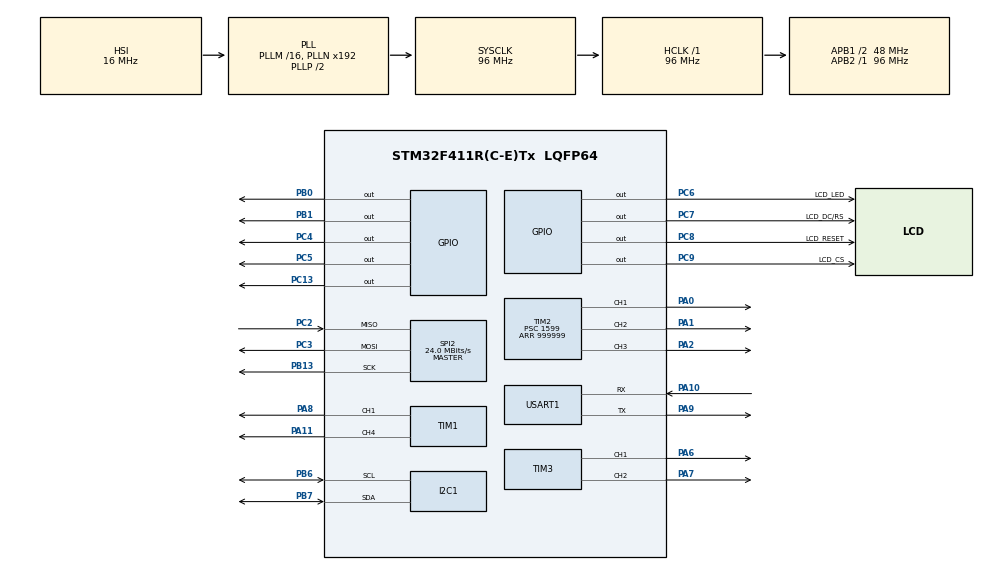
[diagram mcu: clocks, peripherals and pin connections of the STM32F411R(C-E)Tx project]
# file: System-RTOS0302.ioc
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FREERTOS.Mutexes01=myMutexLCD,Dynamic,NULL
FREERTOS.Tasks01=Task1,0,128,StartTask1,Default,NULL,Dynamic,NULL,NULL;Task02,0,128,StartTask02,Default,NULL,Dynamic,NULL,NULL;Task03,0,128,StartTask03,Default,NULL,Dynamic,NULL,NULL;Task04,0,128,StartTask04,Default,NULL,Dynamic,NULL,NULL;Task05,0,128,StartTask05,Default,NULL,Dynamic,NULL,NULL;Task06,-3,128,StartTask06,Default,NULL,Dynamic,NULL,NULL
Mcu.Family=STM32F4
Mcu.Name=STM32F411R(C-E)Tx
Mcu.Package=LQFP64
NVIC.I2C1_ER_IRQn=true\:5\:0\:false\:false\:true\:true\:true\:true
NVIC.I2C1_EV_IRQn=true\:5\:0\:false\:false\:true\:true\:true\:true
NVIC.PriorityGroup=NVIC_PRIORITYGROUP_4
NVIC.SPI2_IRQn=true\:5\:0\:false\:false\:true\:true\:true\:true
NVIC.TIM2_IRQn=true\:5\:0\:false\:false\:true\:true\:true\:true
NVIC.TIM3_IRQn=true\:5\:0\:false\:false\:true\:true\:true\:true
NVIC.TIM4_IRQn=true\:0\:0\:false\:false\:true\:false\:false\:true
NVIC.TimeBase=TIM4_IRQn
NVIC.TimeBaseIP=TIM4
NVIC.USART1_IRQn=true\:5\:0\:false\:false\:true\:true\:true\:true
PA0-WKUP.Signal=S_TIM2_CH1_ETR
PA1.Signal=S_TIM2_CH2
PA10.Mode=Asynchronous
PA10.Signal=USART1_RX
PA11.Signal=S_TIM1_CH4
PA2.Signal=S_TIM2_CH3
PA6.Signal=S_TIM3_CH1
PA7.Signal=S_TIM3_CH2
PA8.Signal=S_TIM1_CH1
PA9.Mode=Asynchronous
PA9.Signal=USART1_TX
PB0.Signal=GPIO_Output
PB1.Signal=GPIO_Output
PB13.Mode=Full_Duplex_Master
PB13.Signal=SPI2_SCK
PB6.Mode=I2C
PB6.Signal=I2C1_SCL
PB7.Mode=I2C
PB7.Signal=I2C1_SDA
PC13-ANTI_TAMP.Signal=GPIO_Output
PC2.Mode=Full_Duplex_Master
PC2.Signal=SPI2_MISO
PC3.Mode=Full_Duplex_Master
PC3.Signal=SPI2_MOSI
PC4.Signal=GPIO_Output
PC5.Signal=GPIO_Output
PC6.GPIO_Label=LCD_LED
PC6.GPIO_ModeDefaultOutputPP=GPIO_MODE_OUTPUT_PP
PC6.GPIO_PuPd=GPIO_NOPULL
PC6.GPIO_Speed=GPIO_SPEED_FREQ_LOW
PC6.PinState=GPIO_PIN_SET
PC6.Signal=GPIO_Output
PC7.GPIO_Label=LCD_DC/RS
PC7.GPIO_ModeDefaultOutputPP=GPIO_MODE_OUTPUT_PP
PC7.GPIO_PuPd=GPIO_NOPULL
PC7.GPIO_Speed=GPIO_SPEED_FREQ_LOW
PC7.PinState=GPIO_PIN_SET
PC7.Signal=GPIO_Output
PC8.GPIO_Label=LCD_RESET
PC8.GPIO_ModeDefaultOutputPP=GPIO_MODE_OUTPUT_PP
PC8.GPIO_PuPd=GPIO_NOPULL
PC8.GPIO_Speed=GPIO_SPEED_FREQ_LOW
PC8.PinState=GPIO_PIN_SET
PC8.Signal=GPIO_Output
PC9.GPIO_Label=LCD_CS
PC9.GPIO_ModeDefaultOutputPP=GPIO_MODE_OUTPUT_PP
PC9.GPIO_PuPd=GPIO_NOPULL
PC9.GPIO_Speed=GPIO_SPEED_FREQ_LOW
PC9.PinState=GPIO_PIN_SET
PC9.Signal=GPIO_Output
PH0\ -\ OSC_IN.Mode=HSE-External-Oscillator
PH0\ -\ OSC_IN.Signal=RCC_OSC_IN
PH1\ -\ OSC_OUT.Mode=HSE-External-Oscillator
PH1\ -\ OSC_OUT.Signal=RCC_OSC_OUT
ProjectManager.HeapSize=0x200
ProjectManager.StackSize=0x400
ProjectManager.TargetToolchain=STM32CubeIDE
RCC.AHBFreq_Value=96000000
RCC.APB1CLKDivider=RCC_HCLK_DIV2
RCC.APB1Freq_Value=48000000
RCC.APB1TimFreq_Value=96000000
RCC.APB2Freq_Value=96000000
RCC.APB2TimFreq_Value=96000000
RCC.CortexFreq_Value=96000000
RCC.HCLKFreq_Value=96000000
RCC.HSE_VALUE=25000000
RCC.HSI_VALUE=16000000
RCC.LSE_VALUE=32768
RCC.SYSCLKFreq_VALUE=96000000
RCC.SYSCLKSource=RCC_SYSCLKSOURCE_PLLCLK
RCC.VCOOutputFreq_Value=192000000
SH.S_TIM1_CH1.0=TIM1_CH1,PWM Generation1 CH1
SH.S_TIM1_CH4.0=TIM1_CH4,PWM Generation4 CH4
SH.S_TIM2_CH1_ETR.0=TIM2_CH1,PWM Generation1 CH1
SH.S_TIM2_CH2.0=TIM2_CH2,PWM Generation2 CH2
SH.S_TIM2_CH3.0=TIM2_CH3,PWM Generation3 CH3
SH.S_TIM3_CH1.0=TIM3_CH1,PWM Generation1 CH1
SH.S_TIM3_CH2.0=TIM3_CH2,PWM Generation2 CH2
SPI2.BaudRatePrescaler=SPI_BAUDRATEPRESCALER_2
SPI2.CalculateBaudRate=24.0 MBits/s
SPI2.Direction=SPI_DIRECTION_2LINES
SPI2.Mode=SPI_MODE_MASTER
SPI2.VirtualType=VM_MASTER
TIM1.Channel-PWM\ Generation1\ CH1=TIM_CHANNEL_1
TIM1.Channel-PWM\ Generation4\ CH4=TIM_CHANNEL_4
TIM2.Channel-PWM\ Generation1\ CH1=TIM_CHANNEL_1
TIM2.Channel-PWM\ Generation2\ CH2=TIM_CHANNEL_2
TIM2.Channel-PWM\ Generation3\ CH3=TIM_CHANNEL_3
TIM2.Period=999999
TIM2.Prescaler=1599
TIM3.Channel-PWM\ Generation1\ CH1=TIM_CHANNEL_1
TIM3.Channel-PWM\ Generation2\ CH2=TIM_CHANNEL_2
USART1.VirtualMode=VM_ASYNC
VP_FREERTOS_VS_CMSIS_V1.Mode=CMSIS_V1
VP_SYS_VS_tim4.Mode=TIM4
VP_TIM2_VS_ClockSourceINT.Mode=Internal
board=custom

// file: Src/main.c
/* USER CODE BEGIN Header */
/**
  ******************************************************************************
  * @file           : main.c
  * @brief          : Main program body
  ******************************************************************************
  * @attention
  *
  * <h2><center>&copy; Copyright (c) 2020 STMicroelectronics.
  * All rights reserved.</center></h2>
  *
  * This software component is licensed by ST under Ultimate Liberty license
  * SLA0044, the "License"; You may not use this file except in compliance with
  * the License. You may obtain a copy of the License at:
  *                             www.st.com/SLA0044
  *
  ******************************************************************************
  */
/* USER CODE END Header */

#include "main.h"
#include "cmsis_os.h"
// #include sensor
#include "stdio.h"
#include "stdlib.h"
#include "stdbool.h"
#include "sps30.h"
#include "svm30.h"
#include "math.h"
// #include LCD
#include"string.h"
#include "stm32f4xx_hal.h"
#include "tft_spi.h"
#include "myimage.h"

I2C_HandleTypeDef hi2c1;

SPI_HandleTypeDef hspi2;

TIM_HandleTypeDef htim1;
TIM_HandleTypeDef htim2;
TIM_HandleTypeDef htim3;

UART_HandleTypeDef huart1;

osThreadId Task1Handle;
osThreadId Task02Handle;
osThreadId Task03Handle;
osThreadId Task04Handle;
osThreadId Task05Handle;
osThreadId Task06Handle;
osMutexId myMutexLCDHandle;
/* USER CODE BEGIN PV */

extern uint16_t BACK_COLOR, POINT_COLOR;

void chuyendoi(void);
void FrameUART(void);
void Convertvalue(void);
void CheckUART(void);
void CheckFLAG(void);
void IAQcolor(void);
void IAQform(void);
void FormInterface(void);

char buffer[20],buffer1[20],buffer2[20],buffer3[20],buffer4[20],buffer5[20];
int tmpInt1,tmpInt2;
uint8_t send_data[512],receive_data[512],stt=255;
uint16_t count=0,i,num=0;
uint8_t FLAG =0,FLAG1 =0,FLAG2 =0,FLAG3 =0,FLAG4 =0;

/*Variables Sensor*/
uint16_t i = 0;
int16_t err;
uint16_t tvoc_ppb = 1, co2_ppm = 2;
uint32_t iaq_baseline;
int32_t temperature = 0, humidity = 0;
float temp, hum;
float PM25;
struct sps30_measurement m;
int16_t ret;
//UART
int Rx_indx = 0;
uint8_t rxBuffer[4];
uint16_t val[5];
int test = 12345;
int cursor = 0;
int length = 0;

int tmpIntPM1,tmpIntte1,tmpInthu1,tmpIntPM2,tmpIntte2,tmpInthu2;
//uint8_t rxBuffer[4];
uint8_t frame[100];
uint8_t tempe1[5] = "";
uint8_t tempe2[5] = "";
uint8_t humi1[5] = "";
uint8_t humi2[5] = "";
uint8_t CO2[5] = "";
uint8_t VOC[5] = "";
uint8_t PM251[5] = "";
uint8_t PM252[5] = "";
char  Rx_data[2], Rx_Buffer[40], Transfer_cplt;

//Động cơ
int speed ;
int power;
int Vanst = 0;

// mode
int nightmode ;
int filmode;
int ctrmode;
int UVmode;
int IONmode;
int ionval;
bool huong;
/* USER CODE END PV */

void SystemClock_Config(void);
static void MX_GPIO_Init(void);
static void MX_I2C1_Init(void);
static void MX_SPI2_Init(void);
static void MX_TIM1_Init(void);
static void MX_TIM2_Init(void);
static void MX_TIM3_Init(void);
static void MX_USART1_UART_Init(void);
void StartTask1(void const * argument);
void StartTask02(void const * argument);
void StartTask03(void const * argument);
void StartTask04(void const * argument);
void StartTask05(void const * argument);
void StartTask06(void const * argument);

int main(void)
{

  /* MCU Configuration--------------------------------------------------------*/

  /* Reset of all peripherals, Initializes the Flash interface and the Systick. */
	HAL_Init();

  /* Configure the system clock */
  SystemClock_Config();

  /* Initialize all configured peripherals */
  MX_GPIO_Init();
  MX_I2C1_Init();
  MX_SPI2_Init();
  MX_TIM1_Init();
  MX_TIM2_Init();
  MX_TIM3_Init();
  MX_USART1_UART_Init();
  sensirion_i2c_init();
  tft_init();
  fan_init();

  /* USER CODE BEGIN 2 */
   tft_puts_image(vht1);
   HAL_Delay(3000);
   tft_fill(0,0,320,240,BLACK);
   POINT_COLOR=CYAN;
   tft_puts26x48(58,3,(int8_t*)" Viettel",TFT_STRING_MODE_NO_BACKGROUND);
   tft_puts26x48(58,5,(int8_t*)" Viettel",TFT_STRING_MODE_NO_BACKGROUND);
   tft_puts18x32(114,3,(int8_t*)"   MEDICAL",TFT_STRING_MODE_NO_BACKGROUND);
   tft_puts18x32(160,3,(int8_t*)"   PRODUCTS",TFT_STRING_MODE_NO_BACKGROUND);
   HAL_Delay(3000);
   tft_fill(0,0,320,240,BLACK);
   /* UART */
	HAL_UART_Receive_IT(&huart1, Rx_data, 1);
	ret = sps30_start_measurement();
	err = sgp30_iaq_init();

	/* Code khởi tạo chế độ ban đầu */
	    // set PWM cho tốc độ động cơ quạt là trung bình
	speed = low;
	power = Power_On;
	ctrmode = Manual;
	filmode = Fresh_Air;
	nightmode = Nightmode_Off;
	UVmode = UVon;
	IONmode = 0;
	ionval = 0;
	BACK_COLOR=BLACK;
	POINT_COLOR=RED;

	fan_12_run(lowspeed);
	HAL_GPIO_WritePin(GPIOC, GPIO_PIN_11,GPIO_PIN_SET);

  /* USER CODE END 2 */

  /* Create the mutex(es) */
  /* definition and creation of myMutexLCD */
  osMutexDef(myMutexLCD);
  myMutexLCDHandle = osMutexCreate(osMutex(myMutexLCD));

  /* USER CODE BEGIN RTOS_TIMERS */
  HAL_TIM_Base_Start_IT(&htim2);
  /* start timers, add new ones, ... */
  /* USER CODE END RTOS_TIMERS */

  /* Create the thread(s) */
  /* definition and creation of Task1 */
  osThreadDef(Task1, StartTask1, osPriorityNormal, 0, 128);
  Task1Handle = osThreadCreate(osThread(Task1), NULL);

  /* definition and creation of Task02 */
  osThreadDef(Task02, StartTask02, osPriorityNormal, 0, 128);
  Task02Handle = osThreadCreate(osThread(Task02), NULL);

  /* definition and creation of Task03 */
  osThreadDef(Task03, StartTask03, osPriorityNormal, 0, 128);
  Task03Handle = osThreadCreate(osThread(Task03), NULL);

  /* definition and creation of Task04 */
  osThreadDef(Task04, StartTask04, osPriorityNormal, 0, 128);
  Task04Handle = osThreadCreate(osThread(Task04), NULL);

  /* definition and creation of Task05 */
  osThreadDef(Task05, StartTask05, osPriorityNormal, 0, 128);
  Task05Handle = osThreadCreate(osThread(Task05), NULL);

  /* definition and creation of Task06 */
  osThreadDef(Task06, StartTask06, osPriorityIdle, 0, 128);
  Task06Handle = osThreadCreate(osThread(Task06), NULL);

  /* Start scheduler */
  osKernelStart();

  /* We should never get here as control is now taken by the scheduler */

  /* Infinite loop */
  while (1)
  {

  }
}

void SystemClock_Config(void)
{
  RCC_OscInitTypeDef RCC_OscInitStruct = {0};
  RCC_ClkInitTypeDef RCC_ClkInitStruct = {0};

  /** Configure the main internal regulator output voltage
  */
  __HAL_RCC_PWR_CLK_ENABLE();
  __HAL_PWR_VOLTAGESCALING_CONFIG(PWR_REGULATOR_VOLTAGE_SCALE1);
  /** Initializes the CPU, AHB and APB busses clocks
  */
  RCC_OscInitStruct.OscillatorType = RCC_OSCILLATORTYPE_HSI;
  RCC_OscInitStruct.HSIState = RCC_HSI_ON;
  RCC_OscInitStruct.HSICalibrationValue = RCC_HSICALIBRATION_DEFAULT;
  RCC_OscInitStruct.PLL.PLLState = RCC_PLL_ON;
  RCC_OscInitStruct.PLL.PLLSource = RCC_PLLSOURCE_HSI;
  RCC_OscInitStruct.PLL.PLLM = 16;
  RCC_OscInitStruct.PLL.PLLN = 192;
  RCC_OscInitStruct.PLL.PLLP = RCC_PLLP_DIV2;
  RCC_OscInitStruct.PLL.PLLQ = 4;
  if (HAL_RCC_OscConfig(&RCC_OscInitStruct) != HAL_OK)
  {
    Error_Handler();
  }
  /** Initializes the CPU, AHB and APB busses clocks
  */
  RCC_ClkInitStruct.ClockType = RCC_CLOCKTYPE_HCLK|RCC_CLOCKTYPE_SYSCLK
                              |RCC_CLOCKTYPE_PCLK1|RCC_CLOCKTYPE_PCLK2;
  RCC_ClkInitStruct.SYSCLKSource = RCC_SYSCLKSOURCE_PLLCLK;
  RCC_ClkInitStruct.AHBCLKDivider = RCC_SYSCLK_DIV1;
  RCC_ClkInitStruct.APB1CLKDivider = RCC_HCLK_DIV2;
  RCC_ClkInitStruct.APB2CLKDivider = RCC_HCLK_DIV1;

  if (HAL_RCC_ClockConfig(&RCC_ClkInitStruct, FLASH_LATENCY_3) != HAL_OK)
  {
    Error_Handler();
  }
}

static void MX_I2C1_Init(void)
{

  hi2c1.Instance = I2C1;
  hi2c1.Init.ClockSpeed = 100000;
  hi2c1.Init.DutyCycle = I2C_DUTYCYCLE_2;
  hi2c1.Init.OwnAddress1 = 0;
  hi2c1.Init.AddressingMode = I2C_ADDRESSINGMODE_7BIT;
  hi2c1.Init.DualAddressMode = I2C_DUALADDRESS_DISABLE;
  hi2c1.Init.OwnAddress2 = 0;
  hi2c1.Init.GeneralCallMode = I2C_GENERALCALL_DISABLE;
  hi2c1.Init.NoStretchMode = I2C_NOSTRETCH_DISABLE;
  if (HAL_I2C_Init(&hi2c1) != HAL_OK)
  {
    Error_Handler();
  }

}

static void MX_SPI2_Init(void)
{

  /* SPI2 parameter configuration*/
  hspi2.Instance = SPI2;
  hspi2.Init.Mode = SPI_MODE_MASTER;
  hspi2.Init.Direction = SPI_DIRECTION_2LINES;
  hspi2.Init.DataSize = SPI_DATASIZE_8BIT;
  hspi2.Init.CLKPolarity = SPI_POLARITY_LOW;
  hspi2.Init.CLKPhase = SPI_PHASE_1EDGE;
  hspi2.Init.NSS = SPI_NSS_SOFT;
  hspi2.Init.BaudRatePrescaler = SPI_BAUDRATEPRESCALER_2;
  hspi2.Init.FirstBit = SPI_FIRSTBIT_MSB;
  hspi2.Init.TIMode = SPI_TIMODE_DISABLE;
  hspi2.Init.CRCCalculation = SPI_CRCCALCULATION_DISABLE;
  hspi2.Init.CRCPolynomial = 10;
  if (HAL_SPI_Init(&hspi2) != HAL_OK)
  {
    Error_Handler();
  }

}

static void MX_TIM1_Init(void)
{

  TIM_MasterConfigTypeDef sMasterConfig = {0};
  TIM_OC_InitTypeDef sConfigOC = {0};
  TIM_BreakDeadTimeConfigTypeDef sBreakDeadTimeConfig = {0};

  htim1.Instance = TIM1;
  htim1.Init.Prescaler = 0;
  htim1.Init.CounterMode = TIM_COUNTERMODE_UP;
  htim1.Init.Period = 0;
  htim1.Init.ClockDivision = TIM_CLOCKDIVISION_DIV1;
  htim1.Init.RepetitionCounter = 0;
  htim1.Init.AutoReloadPreload = TIM_AUTORELOAD_PRELOAD_DISABLE;
  if (HAL_TIM_PWM_Init(&htim1) != HAL_OK)
  {
    Error_Handler();
  }
  sMasterConfig.MasterOutputTrigger = TIM_TRGO_RESET;
  sMasterConfig.MasterSlaveMode = TIM_MASTERSLAVEMODE_DISABLE;
  if (HAL_TIMEx_MasterConfigSynchronization(&htim1, &sMasterConfig) != HAL_OK)
  {
    Error_Handler();
  }
  sConfigOC.OCMode = TIM_OCMODE_PWM1;
  sConfigOC.Pulse = 0;
  sConfigOC.OCPolarity = TIM_OCPOLARITY_HIGH;
  sConfigOC.OCNPolarity = TIM_OCNPOLARITY_HIGH;
  sConfigOC.OCFastMode = TIM_OCFAST_DISABLE;
  sConfigOC.OCIdleState = TIM_OCIDLESTATE_RESET;
  sConfigOC.OCNIdleState = TIM_OCNIDLESTATE_RESET;
  if (HAL_TIM_PWM_ConfigChannel(&htim1, &sConfigOC, TIM_CHANNEL_1) != HAL_OK)
  {
    Error_Handler();
  }
  if (HAL_TIM_PWM_ConfigChannel(&htim1, &sConfigOC, TIM_CHANNEL_4) != HAL_OK)
  {
    Error_Handler();
  }
  sBreakDeadTimeConfig.OffStateRunMode = TIM_OSSR_DISABLE;
  sBreakDeadTimeConfig.OffStateIDLEMode = TIM_OSSI_DISABLE;
  sBreakDeadTimeConfig.LockLevel = TIM_LOCKLEVEL_OFF;
  sBreakDeadTimeConfig.DeadTime = 0;
  sBreakDeadTimeConfig.BreakState = TIM_BREAK_DISABLE;
  sBreakDeadTimeConfig.BreakPolarity = TIM_BREAKPOLARITY_HIGH;
  sBreakDeadTimeConfig.AutomaticOutput = TIM_AUTOMATICOUTPUT_DISABLE;
  if (HAL_TIMEx_ConfigBreakDeadTime(&htim1, &sBreakDeadTimeConfig) != HAL_OK)
  {
    Error_Handler();
  }
  HAL_TIM_MspPostInit(&htim1);

}

static void MX_TIM2_Init(void)
{

	  TIM_ClockConfigTypeDef sClockSourceConfig = {0};
	  TIM_MasterConfigTypeDef sMasterConfig = {0};
	  TIM_OC_InitTypeDef sConfigOC = {0};

	  htim2.Instance = TIM2;
	  htim2.Init.Prescaler = 1599;
	  htim2.Init.CounterMode = TIM_COUNTERMODE_UP;
	  htim2.Init.Period = 999999;
	  htim2.Init.ClockDivision = TIM_CLOCKDIVISION_DIV1;
	  htim2.Init.AutoReloadPreload = TIM_AUTORELOAD_PRELOAD_DISABLE;
	  if (HAL_TIM_Base_Init(&htim2) != HAL_OK)
	  {
	    Error_Handler();
	  }
	  sClockSourceConfig.ClockSource = TIM_CLOCKSOURCE_INTERNAL;
	  if (HAL_TIM_ConfigClockSource(&htim2, &sClockSourceConfig) != HAL_OK)
	  {
	    Error_Handler();
	  }
	  if (HAL_TIM_PWM_Init(&htim2) != HAL_OK)
	  {
	    Error_Handler();
	  }
	  sMasterConfig.MasterOutputTrigger = TIM_TRGO_RESET;
	  sMasterConfig.MasterSlaveMode = TIM_MASTERSLAVEMODE_DISABLE;
	  if (HAL_TIMEx_MasterConfigSynchronization(&htim2, &sMasterConfig) != HAL_OK)
	  {
	    Error_Handler();
	  }
	  sConfigOC.OCMode = TIM_OCMODE_PWM1;
	  sConfigOC.Pulse = 0;
	  sConfigOC.OCPolarity = TIM_OCPOLARITY_HIGH;
	  sConfigOC.OCFastMode = TIM_OCFAST_DISABLE;
	  if (HAL_TIM_PWM_ConfigChannel(&htim2, &sConfigOC, TIM_CHANNEL_1) != HAL_OK)
	  {
	    Error_Handler();
	  }
	  if (HAL_TIM_PWM_ConfigChannel(&htim2, &sConfigOC, TIM_CHANNEL_2) != HAL_OK)
	  {
	    Error_Handler();
	  }
	  if (HAL_TIM_PWM_ConfigChannel(&htim2, &sConfigOC, TIM_CHANNEL_3) != HAL_OK)
	  {
	    Error_Handler();
	  }
	  HAL_TIM_MspPostInit(&htim2);

}

static void MX_TIM3_Init(void)
{

  TIM_MasterConfigTypeDef sMasterConfig = {0};
  TIM_OC_InitTypeDef sConfigOC = {0};

  htim3.Instance = TIM3;
  htim3.Init.Prescaler = 0;
  htim3.Init.CounterMode = TIM_COUNTERMODE_UP;
  htim3.Init.Period = 0;
  htim3.Init.ClockDivision = TIM_CLOCKDIVISION_DIV1;
  htim3.Init.AutoReloadPreload = TIM_AUTORELOAD_PRELOAD_DISABLE;
  if (HAL_TIM_PWM_Init(&htim3) != HAL_OK)
  {
    Error_Handler();
  }
  sMasterConfig.MasterOutputTrigger = TIM_TRGO_RESET;
  sMasterConfig.MasterSlaveMode = TIM_MASTERSLAVEMODE_DISABLE;
  if (HAL_TIMEx_MasterConfigSynchronization(&htim3, &sMasterConfig) != HAL_OK)
  {
    Error_Handler();
  }
  sConfigOC.OCMode = TIM_OCMODE_PWM1;
  sConfigOC.Pulse = 0;
  sConfigOC.OCPolarity = TIM_OCPOLARITY_HIGH;
  sConfigOC.OCFastMode = TIM_OCFAST_DISABLE;
  if (HAL_TIM_PWM_ConfigChannel(&htim3, &sConfigOC, TIM_CHANNEL_1) != HAL_OK)
  {
    Error_Handler();
  }
  if (HAL_TIM_PWM_ConfigChannel(&htim3, &sConfigOC, TIM_CHANNEL_2) != HAL_OK)
  {
    Error_Handler();
  }
  HAL_TIM_MspPostInit(&htim3);

}

static void MX_USART1_UART_Init(void)
{

  huart1.Instance = USART1;
  huart1.Init.BaudRate = 115200;
  huart1.Init.WordLength = UART_WORDLENGTH_8B;
  huart1.Init.StopBits = UART_STOPBITS_1;
  huart1.Init.Parity = UART_PARITY_NONE;
  huart1.Init.Mode = UART_MODE_TX_RX;
  huart1.Init.HwFlowCtl = UART_HWCONTROL_NONE;
  huart1.Init.OverSampling = UART_OVERSAMPLING_16;
  if (HAL_UART_Init(&huart1) != HAL_OK)
  {
    Error_Handler();
  }

}

static void MX_GPIO_Init(void)
{
  GPIO_InitTypeDef GPIO_InitStruct = {0};

  /* GPIO Ports Clock Enable */
  __HAL_RCC_GPIOC_CLK_ENABLE();
  __HAL_RCC_GPIOH_CLK_ENABLE();
  __HAL_RCC_GPIOA_CLK_ENABLE();
  __HAL_RCC_GPIOB_CLK_ENABLE();

  /*Configure GPIO pin Output Level */
  HAL_GPIO_WritePin(GPIOC, GPIO_PIN_13|GPIO_PIN_4|GPIO_PIN_5, GPIO_PIN_RESET);

  /*Configure GPIO pin Output Level */
  HAL_GPIO_WritePin(GPIOB, GPIO_PIN_0|GPIO_PIN_1, GPIO_PIN_RESET);

  /*Configure GPIO pin Output Level */
  HAL_GPIO_WritePin(GPIOC, LCD_LED_Pin|LCD_DC_RS_Pin|LCD_RESET_Pin|LCD_CS_Pin, GPIO_PIN_SET);

  /*Configure GPIO pins : PC13 PC4 PC5 LCD_LED_Pin
                           LCD_DC_RS_Pin LCD_RESET_Pin LCD_CS_Pin */
  GPIO_InitStruct.Pin = GPIO_PIN_13|GPIO_PIN_4|GPIO_PIN_5|LCD_LED_Pin
                          |LCD_DC_RS_Pin|LCD_RESET_Pin|LCD_CS_Pin;
  GPIO_InitStruct.Mode = GPIO_MODE_OUTPUT_PP;
  GPIO_InitStruct.Pull = GPIO_NOPULL;
  GPIO_InitStruct.Speed = GPIO_SPEED_FREQ_LOW;
  HAL_GPIO_Init(GPIOC, &GPIO_InitStruct);

  /*Configure GPIO pins : PB0 PB1 */
  GPIO_InitStruct.Pin = GPIO_PIN_0|GPIO_PIN_1;
  GPIO_InitStruct.Mode = GPIO_MODE_OUTPUT_PP;
  GPIO_InitStruct.Pull = GPIO_NOPULL;
  GPIO_InitStruct.Speed = GPIO_SPEED_FREQ_LOW;
  HAL_GPIO_Init(GPIOB, &GPIO_InitStruct);

}

void StartTask1(void const * argument)
{

  /* USER CODE BEGIN 5 */
  /* Infinite loop */
  for(;;)
  {
	  PM25 = PM25 +1;
	  ret = sps30_read_measurement(&m);
	  //if (ret < 0) {
		// PM25 = PM25;
					  //error
	 // } else {
	//	 PM25 = m.mc_2p5;
	 // }
	  err = svm_measure_iaq_blocking_read(&tvoc_ppb, &co2_ppm, &temperature, &humidity);

	  if (err == STATUS_OK) {
			//lay thanh cong
	  } else {
			co2_ppm = co2_ppm;
			temperature = temperature;
			humidity = humidity;
			tvoc_ppb = tvoc_ppb;
			//khong the doc tu cam bien
	  }
    osDelay(1000);
  }
  /* USER CODE END 5 */
}

void StartTask02(void const * argument)
{
  /* USER CODE BEGIN StartTask02 */
  /* Infinite loop */
  for(;;)
  {
	CheckUART();
    osDelay(500);
  }
  /* USER CODE END StartTask02 */
}

void StartTask03(void const * argument)
{
  /* USER CODE BEGIN StartTask03 */
  /* Infinite loop */
  for(;;)
  {
	  if (PM25 <= 50 && FLAG==0){
		  	tft_fill2(1,1,320,240,BLACK);
			FLAG=1;
			FLAG1=0;
			FLAG2=0;
			FLAG3=0;
			FLAG4=0;

			IAQcolor();
			IAQform();
			 __HAL_TIM_SET_COUNTER(&htim2, 0);
		}
		else if(PM25 > 50 && PM25 <= 100 && FLAG1==0){
			FLAG=0;
			FLAG1=1;
			FLAG2=0;
			FLAG3=0;
			FLAG4=0;
			tft_fill2(1,1,320,240,BLACK);
			IAQcolor();
			IAQform();
			 __HAL_TIM_SET_COUNTER(&htim2, 0);
		}
		else if(PM25 > 100 && PM25 <= 150 && FLAG2==0){
			FLAG=0;
			FLAG1=0;
			FLAG2=1;
			FLAG3=0;
			FLAG4=0;
			tft_fill2(1,1,320,240,BLACK);
			IAQcolor();
			IAQform();
			 __HAL_TIM_SET_COUNTER(&htim2, 0);
		}
		else if(PM25 > 150 && PM25 <= 200 && FLAG3==0){
			FLAG=0;
			FLAG1=0;
			FLAG2=0;
			FLAG3=1;
			FLAG4=0;
			tft_fill2(1,1,320,240,BLACK);
			IAQcolor();
			IAQform();
			 __HAL_TIM_SET_COUNTER(&htim2, 0);
		}
		else if(PM25 > 200 && FLAG4==0){
			FLAG=0;
			FLAG1=0;
			FLAG2=0;
			FLAG3=0;
			FLAG4=1;
			tft_fill2(1,1,320,240,BLACK);
			IAQcolor();
			IAQform();
			 __HAL_TIM_SET_COUNTER(&htim2, 0);
		}
    osDelay(1000);
  }
  /* USER CODE END StartTask03 */
}

void StartTask04(void const * argument)
{
  /* USER CODE BEGIN StartTask04 */
  /* Infinite loop */
  for(;;)
  {
	  FormInterface();
	  Convertvalue();
	  //FrameUART();
	  sprintf(buffer5,"%d",tmpIntPM1);
      osDelay(1000);
  }
  /* USER CODE END StartTask04 */
}

void StartTask05(void const * argument)
{
  /* USER CODE BEGIN StartTask05 */
  /* Infinite loop */
  for(;;)
  {
    osDelay(10000000);
  }
  /* USER CODE END StartTask05 */
}

void StartTask06(void const * argument)
{
  /* USER CODE BEGIN StartTask06 */
  /* Infinite loop */
  for(;;)
  {
    osDelay(10000000);
  }
  /* USER CODE END StartTask06 */
}

/* USER CODE FOR UART*/
void HAL_UART_RxCpltCallback(UART_HandleTypeDef *huart)
{
    uint8_t i;
    if (huart->Instance == USART1)  //Xét UART nhận dữ liệu
        {
        if (Rx_indx==0 && Transfer_cplt==0) {for (i=0;i<100;i++) Rx_Buffer[i]=0;}   //clear Rx_buffer trước khi nhận dữ liệu mới

        if (Rx_data[0]!='\n') //Nếu nhận dữ liệu là khác dấu xuống dòng
            {
            Rx_Buffer[Rx_indx++]=Rx_data[0];    //thêm dữ liệu vào Rx_Buffer
            }
        else            //nếu là dấu xuống dòng \n thì hoàn thành việc đọc 1 khung truyền
            {
            Rx_indx=0;
            Transfer_cplt=1;//Cờ báo hiệu đã chuyển dữ liệu xong và tiến hành đọc dữ liệu
            }

        HAL_UART_Receive_IT(&huart1, Rx_data, 1);   //Kích hoạt ngắt UART mỗi data nhận được
        }

}

/* Hàm chuyển đổi giá trị của giá trị float PM2.5, nhiệt độ, độ ẩm để đưa vào khung truyền UART */
void Convertvalue(void){

	//PM25 = 22.33;
	//PM25 = PM25 + 10;
	tmpIntPM1 = (int)PM25;
	float tmpFPM = PM25 - tmpIntPM1;
	tmpIntPM2 = trunc(tmpFPM * 100);
	//temperature = 9977;
	temp = (float)(temperature/1000.0f);
	tmpIntte1 = (int)temp;
	float tmpT = temp - tmpIntte1;
	tmpIntte2 = trunc(tmpT * 100);
	//humidity = 9876;
	hum = (float)(humidity/1000.0f);
	tmpInthu1 = (int) hum;
	float tmpH = hum - tmpInthu1;
	tmpInthu2 = trunc(tmpH * 100);
}

/* Tạo Khung truyền với các giá trị lấy từ cảm biến và động cơ */
void FrameUART(void){
		itoa(tmpIntte1,(char*)tempe1,10);
		itoa(tmpIntte2,(char*)tempe2,10);
		itoa(tmpInthu1,(char*)humi1,10);
		itoa(tmpInthu2,(char*)humi2,10);
		itoa(co2_ppm,(char*)CO2,10);
		itoa(tvoc_ppb,(char*)VOC,10);
		itoa(tmpIntPM1,(char*)PM251,10);
		itoa(tmpIntPM2,(char*)PM252,10);

	   strcpy((char *) frame, (char *) "TE");
	   strcat((char *) frame,(char *) tempe1);
	   strcat((char *) frame, (char *) ":");
	   strcat((char *) frame, (char *) "A");
	   strcat((char *) frame,(char *) tempe2);
	   strcat((char *) frame, (char *) ":");
	   strcat((char *) frame, (char *) "HU");
	   strcat((char *) frame, (char *) humi1 );
	   strcat((char *) frame, (char *) ":");
	   strcat((char *) frame, (char *) "Q");
	   strcat((char *) frame, (char *) humi2 );
	   strcat((char *) frame, (char *) ":");
	   strcat((char *) frame, (char *) "CO");
	   strcat((char *) frame, (char *) CO2 );
	   strcat((char *) frame, (char *) ":");
	   strcat((char *) frame, (char *) "VO");
	   strcat((char *) frame, (char *) VOC );
	   strcat((char *) frame, (char *) ":");
	   strcat((char *) frame, (char *) "PM");
	   strcat((char *) frame, (char *) PM251 );
	   strcat((char *) frame, (char *) ":");
	   strcat((char *) frame, (char *) "S");
	   strcat((char *) frame, (char *) PM252 );
	   strcat((char *) frame, (char *) ":");
	   strcat((char *) frame, (char *) "PO");
	   if (power == 1)
	   strcat((char *) frame, (char *) "1" );
	   else if (power == 0)
	   strcat((char *) frame, (char *) "0" );
	   strcat((char *) frame, (char *) ":");
	   strcat((char *) frame, (char *) "SP");
	   if(speed == 0)
		   strcat((char *) frame, (char *) "0" );
	   else if(speed == 1)
		   strcat((char *) frame, (char *) "1" );
	   else if(speed == 2)
		   strcat((char *) frame, (char *) "2" );
	   else if(speed == 3)
		   strcat((char *) frame, (char *) "3" );
	   strcat((char *) frame, (char *) ":");
	   strcat((char *) frame, (char *) "NIGH");
	   if (nightmode ==0){
		   strcat((char *) frame, (char *) "0" );
	   }
	   else if (nightmode == 1){
		   strcat((char *) frame, (char *) "1" );
	   }
	   strcat((char *) frame, (char *) ":");
	   strcat((char *) frame, (char *) "FILT");
	   if (filmode ==0){
			strcat((char *) frame, (char *) "0" );
		   }
	   else if (filmode == 1){
			strcat((char *) frame, (char *) "1" );
		   }
	   strcat((char *) frame, (char *) ":");
	   strcat((char *) frame, (char *) "CTRL");
	   if (ctrmode ==0){
			strcat((char *) frame, (char *) "0" );
		   }
	   else if (ctrmode == 1){
			strcat((char *) frame, (char *) "1" );
			   }
	   strcat((char *) frame, (char *) ":");
	   strcat((char *) frame, (char *) "UV");
	   if (UVmode == 0){
			strcat((char *) frame, (char *) "0" );
	   }
	   else if (UVmode == 1){
			strcat((char *) frame, (char *) "1" );
		}
	   strcat((char *) frame, (char *) ":");
	   	   strcat((char *) frame, (char *) "IAN");
	   	   if (ionval ==0){
	   			strcat((char *) frame, (char *) "0" );
		   }
	   	   else if (ionval == 1){
	   			strcat((char *) frame, (char *) "1" );
		   }
	   strcat((char *) frame, (char *) "\n");
	   length = strlen((char*)&frame);
}
void CheckUART(void){
	if(Transfer_cplt){

	  for (int i =0; i<=strlen(Rx_Buffer); i++){
		  if(Rx_Buffer[i] =='h' && Rx_Buffer[i+1]=='i'){ // Nhận nút điều khiển động cơ hight từ App

			  speed = hight;
//			  fan_1_run(hightspeed);
//			  fan_2_run(hightspeed);
			  fan_12_run(hightspeed);
			  num = SPEED_HIGHT;
			  __HAL_TIM_SET_COUNTER(&htim2, 0);
			  FLAG=1;
			  FLAG1=1;
			  FLAG2=1;
			  FLAG3=1;
			  FLAG4=1;
			  tft_fill(0,0,320,240,BLACK);
			  // Set tốc độ động cơ PWM ở đây
		  }
		  else if(Rx_Buffer[i] =='l' && Rx_Buffer[i+1]=='o'&& Rx_Buffer[i+2]=='w'){ // Nhận nút điều khiển động cơ low từ app

			  speed = low;
//			  fan_1_run(lowspeed);
//			  fan_2_run(lowspeed);
			  fan_12_run(lowspeed);
			  num = SPEED_LOW;
			  __HAL_TIM_SET_COUNTER(&htim2, 0);
			  FLAG=1;
			  FLAG1=1;
			  FLAG2=1;
			  FLAG3=1;
			  FLAG4=1;
			  tft_fill(0,0,320,240,BLACK);
			 // Set tốc độ động cơ PWM ở đây
		 }
		  else if(Rx_Buffer[i] =='m' && Rx_Buffer[i+1]=='e'&& Rx_Buffer[i+2]=='d'){ // Nhận nút điều khiển động cơ med từ app

			  speed = med;
//			  fan_1_run(medspeed);
//			  fan_2_run(medspeed);
			  fan_12_run(medspeed);
			  num = SPEED_MEDIUM;
			  __HAL_TIM_SET_COUNTER(&htim2, 0);
			  FLAG=1;
			  FLAG1=1;
			  FLAG2=1;
			  FLAG3=1;
			  FLAG4=1;
			  tft_fill(0,0,320,240,BLACK);
			 // Set tốc độ động cơ PWM ở đây
		 }
	  //}
	 //for (int i =0; i<=strlen(Rx_Buffer); i++){
		 if(Rx_Buffer[i] =='P' && Rx_Buffer[i+1]=='O'&& Rx_Buffer[i+2]=='N'){

			 power = Power_On;
			 speed = med;
//			 fan_1_run(medspeed);
//			 fan_2_run(medspeed);
			 fan_12_run(medspeed);
			 num = POWER_ON;
			 __HAL_TIM_SET_COUNTER(&htim2, 0);
			  FLAG=1;
			  FLAG1=1;
			  FLAG2=1;
			  FLAG3=1;
			  FLAG4=1;
			  tft_fill(0,0,320,240,BLACK);
			 // Set tốc độ động cơ PWM ở đây
			 // Set van khí ở đây
		 }
		 else if(Rx_Buffer[i] =='P' && Rx_Buffer[i+1]=='O'&& Rx_Buffer[i+2]=='F'){

			 power = Power_Off;
			 speed = Power_Off;
			 fan_1_stop();
			 fan_2_stop();
			 num = POWER_OFF;
			 __HAL_TIM_SET_COUNTER(&htim2, 0);
			  FLAG=1;
			  FLAG1=1;
			  FLAG2=1;
			  FLAG3=1;
			  FLAG4=1;
			  tft_fill(0,0,320,240,BLACK);
			 //Tắt động cơ và đóng van khí ở đây
		 }
	// }
	// for (int i =0; i<=strlen(Rx_Buffer); i++){
	 		 if(Rx_Buffer[i] =='n' && Rx_Buffer[i+1]=='i'&& Rx_Buffer[i+2]=='g'){

	 			 nightmode = Nightmode_On;
//	 			 fan_1_run(lowspeed);
//	 			 fan_2_run(lowspeed);
	 			 fan_12_run(lowspeed);
	 			 num = NIGHT_ON;
	 			 __HAL_TIM_SET_COUNTER(&htim2, 0);
	 			  FLAG=1;
				  FLAG1=1;
				  FLAG2=1;
				  FLAG3=1;
				  FLAG4=1;
				  tft_fill(0,0,320,240,BLACK);
	 		 }
	 		 else if(Rx_Buffer[i] =='d' && Rx_Buffer[i+1]=='a'&& Rx_Buffer[i+2]=='y'){

	 			nightmode = Nightmode_Off;
//	 			fan_1_run(medspeed);
//	 			fan_2_run(medspeed);
	 			fan_12_run(medspeed);
	 			num = NIGHT_OFF;
	 			 __HAL_TIM_SET_COUNTER(&htim2, 0);
	 			  FLAG=1;
				  FLAG1=1;
				  FLAG2=1;
				  FLAG3=1;
				  FLAG4=1;
				  tft_fill(0,0,320,240,BLACK);
	 		 }
	 	//}
	 	//for (int i =0; i<=strlen(Rx_Buffer); i++){
	 		if(Rx_Buffer[i] =='f' && Rx_Buffer[i+1]=='r'&& Rx_Buffer[i+2]=='e'){

	 			filmode = Fresh_Air;
	 			num = FRESH_AIR;
	 			 __HAL_TIM_SET_COUNTER(&htim2, 0);
	 			  FLAG=1;
				  FLAG1=1;
				  FLAG2=1;
				  FLAG3=1;
				  FLAG4=1;
				  Vanst = 1;
				  tft_fill(0,0,320,240,BLACK);

	 			//đk van mở van
	 		 }
	 		else if(Rx_Buffer[i] =='i' && Rx_Buffer[i+1]=='n'&& Rx_Buffer[i+2]=='d'){

	 			filmode = Indoor;
	 			num = INDOOR;
	 			 __HAL_TIM_SET_COUNTER(&htim2, 0);
	 			  FLAG=1;
				  FLAG1=1;
				  FLAG2=1;
				  FLAG3=1;
				  FLAG4=1;
				  Vanst = 0;
				  tft_fill(0,0,320,240,BLACK);
	 			//đk van đóng
	 		}
	 	//}
	 	//for (int i =0; i<=strlen(Rx_Buffer); i++){ // chế độ auto
	 		if(Rx_Buffer[i] =='m' && Rx_Buffer[i+1]=='a'&& Rx_Buffer[i+2]=='n'){

	 			ctrmode = Manual;
	 			num = MANUAL;
	 			 __HAL_TIM_SET_COUNTER(&htim2, 0);
	 			  FLAG=1;
				  FLAG1=1;
				  FLAG2=1;
				  FLAG3=1;
				  FLAG4=1;
				  tft_fill(0,0,320,240,BLACK);
	 		}
	 		else if(Rx_Buffer[i] =='a' && Rx_Buffer[i+1]=='u'&& Rx_Buffer[i+2]=='t'){ // chế độ manual

	 			ctrmode = Auto;
	 			num = AUTO;
	 			 __HAL_TIM_SET_COUNTER(&htim2, 0);
	 			  FLAG=1;
				  FLAG1=1;
				  FLAG2=1;
				  FLAG3=1;
				  FLAG4=1;
				  tft_fill(0,0,320,240,BLACK);
	 		}

	  // UV ION
	  	  if(Rx_Buffer[i] =='n' && Rx_Buffer[i+1]=='o'&& Rx_Buffer[i+2]=='n'){

				IONmode = 1;
				ionval = 1;
				num = IONON;
				HAL_GPIO_WritePin(GPIOC, GPIO_PIN_10,GPIO_PIN_SET);
				HAL_GPIO_WritePin(GPIOA, GPIO_PIN_0,GPIO_PIN_SET);
				 __HAL_TIM_SET_COUNTER(&htim2, 0);
				  FLAG=1;
				  FLAG1=1;
				  FLAG2=1;
				  FLAG3=1;
				  FLAG4=1;
				  tft_fill(0,0,320,240,BLACK);
	  	 		}
	  	 		else if(Rx_Buffer[i] =='n' && Rx_Buffer[i+1]=='o'&& Rx_Buffer[i+2]=='f'){ // chế độ ION

	  	 			IONmode = 0;
	  	 			ionval = 0;
	  	 			num = IONOFF;
	  	 			HAL_GPIO_WritePin(GPIOC, GPIO_PIN_10,GPIO_PIN_RESET);
	  	 			HAL_GPIO_WritePin(GPIOA, GPIO_PIN_0,GPIO_PIN_RESET);
	  	 			 __HAL_TIM_SET_COUNTER(&htim2, 0);
	  	 			  FLAG=1;
	  				  FLAG1=1;
	  				  FLAG2=1;
	  				  FLAG3=1;
	  				  FLAG4=1;
	  				  tft_fill(0,0,320,240,BLACK);
	  	 		}
	  	 if(Rx_Buffer[i] =='v' && Rx_Buffer[i+1]=='o'&& Rx_Buffer[i+2]=='n'){

	  		 	 	UVmode = UVon;
					num = UVON;
					HAL_GPIO_WritePin(GPIOC, GPIO_PIN_11,GPIO_PIN_SET);
					 __HAL_TIM_SET_COUNTER(&htim2, 0);
					  FLAG=1;
					  FLAG1=1;
					  FLAG2=1;
					  FLAG3=1;
					  FLAG4=1;
					  tft_fill(0,0,320,240,BLACK);
	  		  	 		}
			else if(Rx_Buffer[i] =='v' && Rx_Buffer[i+1]=='f'&& Rx_Buffer[i+2]=='f'){ // chế độ UV

				UVmode = UVoff;
				num = UVOFF;
				HAL_GPIO_WritePin(GPIOC, GPIO_PIN_11,GPIO_PIN_RESET);
				 __HAL_TIM_SET_COUNTER(&htim2, 0);
				  FLAG=1;
				  FLAG1=1;
				  FLAG2=1;
				  FLAG3=1;
				  FLAG4=1;
				  tft_fill(0,0,320,240,BLACK);
			}
	  	 }
	  for (int i =0; i<=strlen(Rx_Buffer); i++){
		  if(Rx_Buffer[i] =='s' && Rx_Buffer[i+1]=='t'&& Rx_Buffer[i+2]=='a'){
			 //Đọc giá trị từ cảm biến
			  //ret = sps30_read_measurement(&m);
			 // if (ret < 0) {
			//	 PM25 = PM25;
							  //error
			 // } else {
			//	 PM25 = m.mc_2p5;
			//  }
			  err = svm_measure_iaq_blocking_read(&tvoc_ppb, &co2_ppm, &temperature, &humidity);

			  if (err == STATUS_OK) {
					//lay thanh cong
			  } else {
					co2_ppm = co2_ppm;
					temperature = temperature;
					humidity = humidity;
					tvoc_ppb = tvoc_ppb;
					//khong the doc tu cam bien
			  }

			  Convertvalue();
			  FrameUART();
			  HAL_UART_Transmit(&huart1, (char *) &frame, sizeof(frame), HAL_MAX_DELAY);
		   }
	  }

	  Transfer_cplt = 0;
	  HAL_Delay(400);
  }
}
void IAQcolor(void){

	if (PM25 <= 50){
		BACK_COLOR=BLACK;
		POINT_COLOR=GREEN;
	}
	else if (PM25 > 50 && PM25 <= 100){
		BACK_COLOR=BLACK;
		POINT_COLOR=YELLOW;
	}
	else if (PM25 > 100 && PM25 <= 150){
		BACK_COLOR=BLACK;
		POINT_COLOR=ORANGE;
	}
	else if (PM25 > 150 && PM25 <= 200){
		BACK_COLOR=BLACK;
		POINT_COLOR=RED;
	}
	else if (PM25 > 200 ){
		BACK_COLOR=BLACK;
		POINT_COLOR=VIOLET;
	}

}

void FormInterface(void) {

	 if (num == OFFALL /*&& FLAG == 1*/){
			__HAL_TIM_SET_COUNTER(&htim2, 0);
			IAQcolor();

			if (PM25 <= 9){
				cursor = 110;
			}
			else if (PM25 >= 10 && PM25 <100){
				cursor = 100;
			}
			else if (PM25 > 100){
				cursor = 90;
			}
			tft_puts18x32(160,cursor,(int8_t*)buffer5,TFT_STRING_MODE_BACKGROUND);

		  	}
		 else if (num == POWER_ON){
			 // tft_fill(0,0,320,240,BLACK);
			  BACK_COLOR=BLACK;
			  POINT_COLOR=RED;
			  tft_puts14x24(200,3,(int8_t*)"POWER: ON      ",TFT_STRING_MODE_BACKGROUND);
			  tft_puts14x24(240,3,(int8_t*)"SPEED: MEDIUM      ",TFT_STRING_MODE_BACKGROUND);
		  }
		  else if (num == POWER_OFF){
			  //tft_fill(0,0,320,240,BLACK);
			  BACK_COLOR=BLACK;
			  POINT_COLOR=RED;
			  tft_puts14x24(200,3,(int8_t*)"POWER: OFF      ",TFT_STRING_MODE_BACKGROUND);
		  }
		  else if (num == SPEED_HIGHT){
			  //tft_fill(0,0,320,240,BLACK);
			  BACK_COLOR=BLACK;
			  POINT_COLOR=RED;
			  tft_puts14x24(200,3,(int8_t*)"POWER: ON      ",TFT_STRING_MODE_BACKGROUND);
			  tft_puts14x24(240,3,(int8_t*)"SPEED: HIGH      ",TFT_STRING_MODE_BACKGROUND);
		 }
		  else if (num == SPEED_MEDIUM){
			  //tft_fill(0,0,320,240,BLACK);
			  BACK_COLOR=BLACK;
			  POINT_COLOR=RED;
			  tft_puts14x24(200,3,(int8_t*)"POWER: ON      ",TFT_STRING_MODE_BACKGROUND);
			  tft_puts14x24(240,3,(int8_t*)"SPEED: MEDIUM      ",TFT_STRING_MODE_BACKGROUND);
		 }
		  else if (num == SPEED_LOW){
			  //tft_fill(0,0,320,240,BLACK);
			  BACK_COLOR=BLACK;
			  POINT_COLOR=RED;
			  tft_puts14x24(200,3,(int8_t*)"POWER: ON      ",TFT_STRING_MODE_BACKGROUND);
			  tft_puts14x24(240,3,(int8_t*)"SPEED: LOW      ",TFT_STRING_MODE_BACKGROUND);
		 }
		  else if (num == NIGHT_ON){
			  //tft_fill(0,0,320,240,BLACK);
			  BACK_COLOR=BLACK;
			  POINT_COLOR=RED;
			  tft_puts14x24(220,3,(int8_t*)"NIGHT_MODE: ON     ",TFT_STRING_MODE_BACKGROUND);
		 }
		  else if (num == NIGHT_OFF){
			  //tft_fill(0,0,320,240,BLACK);
			  BACK_COLOR=BLACK;
			  POINT_COLOR=RED;
			  tft_puts14x24(220,3,(int8_t*)"NIGHT_MODE: OFF     ",TFT_STRING_MODE_BACKGROUND);
		 }
		  else if (num == FRESH_AIR){
			  //tft_fill(0,0,320,240,BLACK);
			  BACK_COLOR=BLACK;
			  POINT_COLOR=RED;
			  tft_puts14x24(220,3,(int8_t*)"FILTER: Fresh air     ",TFT_STRING_MODE_BACKGROUND);
		 }
		  else if (num == INDOOR){
			  //tft_fill(0,0,320,240,BLACK);
			  BACK_COLOR=BLACK;
			  POINT_COLOR=RED;
			  tft_puts14x24(220,3,(int8_t*)"FILTER: Indoor    ",TFT_STRING_MODE_BACKGROUND);
		 }
		  else if (num == MANUAL){
			  //tft_fill(0,0,320,240,BLACK);
			  BACK_COLOR=BLACK;
			  POINT_COLOR=RED;
			  tft_puts14x24(220,3,(int8_t*)"CONTROL: Manual    ",TFT_STRING_MODE_BACKGROUND);
		 }
		  else if (num == AUTO){
			  //tft_fill(0,0,320,240,BLACK);
			  BACK_COLOR=BLACK;
			  POINT_COLOR=RED;
			  tft_puts14x24(220,3,(int8_t*)"CONTROL: Auto    ",TFT_STRING_MODE_BACKGROUND);
		 }
		  else if (num == IONON){
			  //tft_fill(0,0,320,240,BLACK);
			  BACK_COLOR=BLACK;
			  POINT_COLOR=RED;
			  tft_puts14x24(220,3,(int8_t*)"ION: On    ",TFT_STRING_MODE_BACKGROUND);
		 }
		  else if (num == IONOFF){
			  //tft_fill(0,0,320,240,BLACK);
			  BACK_COLOR=BLACK;
			  POINT_COLOR=RED;
			  tft_puts14x24(220,3,(int8_t*)"ION: Off    ",TFT_STRING_MODE_BACKGROUND);
		 }
		  else if (num == UVON){
			  //tft_fill(0,0,320,240,BLACK);
			  BACK_COLOR=BLACK;
			  POINT_COLOR=RED;
			  tft_puts14x24(220,3,(int8_t*)"UV: ON    ",TFT_STRING_MODE_BACKGROUND);
		 }
		  else if (num == UVOFF){
			  //tft_fill(0,0,320,240,BLACK);
			  BACK_COLOR=BLACK;
			  POINT_COLOR=RED;
			  tft_puts14x24(220,3,(int8_t*)"UV: OFF    ",TFT_STRING_MODE_BACKGROUND);
		 }

}

void IAQform(void){

	 	tft_fill(0,0,320,240,BLACK);
		draw_arc2(150,119,87);
		draw_arc2(150,119,88);
		draw_arc2(150,119,89);
		draw_arc2(150,119,90);
		//HAL_Delay(200);
		draw_arc(150,119,87);
		draw_arc(150,119,88);
		draw_arc(150,119,89);
		draw_arc(150,119,90);
		//HAL_Delay(200);
		draw_arc3(150,119,87);
		draw_arc3(150,119,88);
		draw_arc3(150,119,89);
		draw_arc3(150,119,90);
		//HAL_Delay(200);
		draw_arc1(150,119,87);
		draw_arc1(150,119,88);
		draw_arc1(150,119,89);
		draw_arc1(150,119,90);
	  //tft_draw_circle(150,119,87);
	  //tft_draw_circle(150,119,88);
	 ///tft_draw_circle(150,119,89);
	 // tft_draw_circle(150,119,90);
	  //tft_draw_circle(150,119,91);
	  //tft_draw_circle(150,119,92);

	  tft_puts26x48(100,80,(int8_t*)"IAQ",TFT_STRING_MODE_NO_BACKGROUND);
	  tft_puts26x48(100,81,(int8_t*)"IAQ",TFT_STRING_MODE_NO_BACKGROUND);

	  POINT_COLOR=GBLUE;
	  tft_puts8x16(17,3,(int8_t*)"VIETTEL HIGH TECHNOLOGY",TFT_STRING_MODE_NO_BACKGROUND);
}

void HAL_TIM_PeriodElapsedCallback(TIM_HandleTypeDef *htim)
{
  if (htim->Instance == TIM4) {
    HAL_IncTick();
  }
  /* USER CODE BEGIN Callback 1 */
  if(htim->Instance == TIM2)
  	{
  		num=0;
  		FLAG=0;
  		FLAG1=0;
  		FLAG2=0;
  		FLAG3=0;
  		FLAG4=0;

  	}

  /* USER CODE END Callback 1 */
}

void Error_Handler(void)
{
}

/************************ (C) COPYRIGHT STMicroelectronics *****END OF FILE****/
